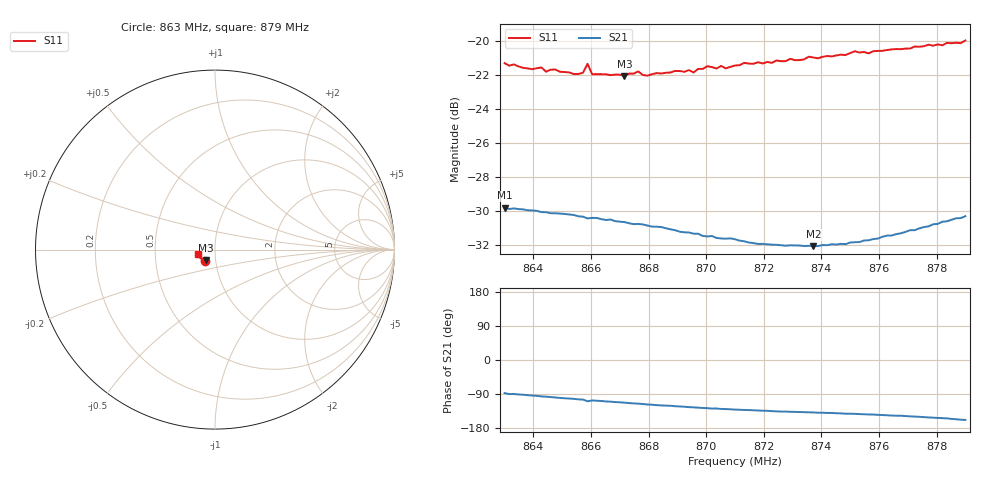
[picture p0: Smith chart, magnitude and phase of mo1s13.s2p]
# HZ S RI R 50
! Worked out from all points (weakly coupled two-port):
!   101 points, 863 MHz to 879 MHz, reference 50 ohm
!   highest |S21| = -29.78 dB at 863 MHz (marker M1); lowest = -32.0 dB at 873.72 MHz (marker M2)
!   lowest |S11| = -22.0 dB at 867.16 MHz (marker M3), VSWR 1.17, Z = 44.7 - j5.33 ohm
!   |S11| at or under -10 dB: start of sweep to end of sweep
!   S12 and S22 are empty: the file has one direction only
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8.63e8  -0.0565 -0.0652  0.0015 -0.0324  0 0  0 0
8.6396e8  -0.054 -0.0628  -0.00212 -0.0318  0 0  0 0
8.6428e8  -0.0541 -0.064  -0.00333 -0.0313  0 0  0 0
8.6444e8  -0.0534 -0.0616  -0.00371 -0.0312  0 0  0 0
8.6476e8  -0.0544 -0.0622  -0.00482 -0.0309  0 0  0 0
8.6572e8  -0.0533 -0.0608  -0.00764 -0.0295  0 0  0 0
8.6588e8  -0.0621 -0.0594  -0.00976 -0.0285  0 0  0 0
8.6604e8  -0.0525 -0.0604  -0.00867 -0.029  0 0  0 0
8.6716e8  -0.0525 -0.0593  -0.0113 -0.0272  0 0  0 0
8.6764e8  -0.0553 -0.0601  -0.0124 -0.0263  0 0  0 0
8.6796e8  -0.0534 -0.0587  -0.0132 -0.0255  0 0  0 0
8.6844e8  -0.0545 -0.0592  -0.0142 -0.0247  0 0  0 0
8.694e8  -0.0566 -0.0599  -0.0155 -0.0226  0 0  0 0
8.6956e8  -0.057 -0.0576  -0.0156 -0.0223  0 0  0 0
8.7004e8  -0.0599 -0.0597  -0.0161 -0.0213  0 0  0 0
8.7068e8  -0.0599 -0.058  -0.0167 -0.0203  0 0  0 0
8.71e8  -0.0618 -0.0583  -0.0171 -0.0198  0 0  0 0
8.718e8  -0.0654 -0.0572  -0.0174 -0.0185  0 0  0 0
8.7372e8  -0.0721 -0.0533  -0.0187 -0.0166  0 0  0 0
8.7484e8  -0.0769 -0.049  -0.0199 -0.0157  0 0  0 0
8.7644e8  -0.0849 -0.0422  -0.0224 -0.0148  0 0  0 0
8.79e8  -0.097 -0.0271  -0.0284 -0.0114  0 0  0 0
